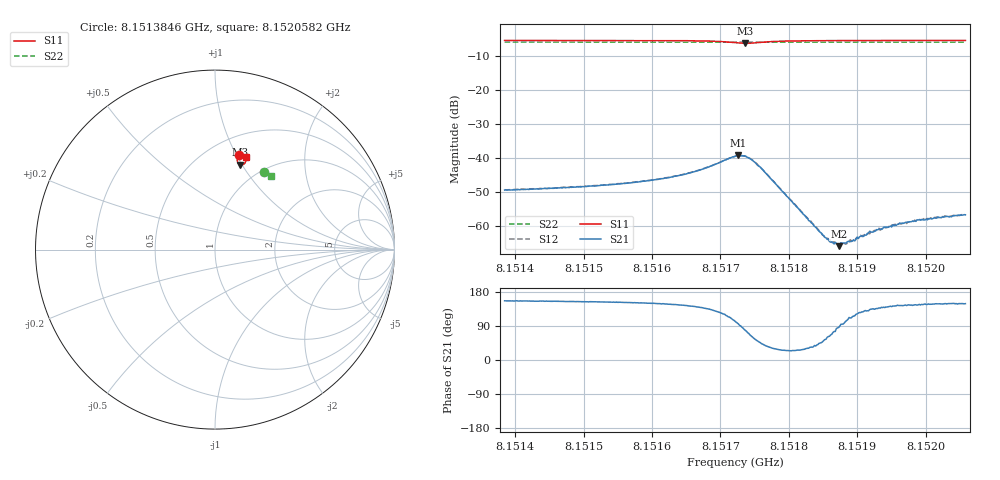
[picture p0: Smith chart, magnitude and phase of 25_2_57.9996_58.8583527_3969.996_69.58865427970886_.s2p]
#  HZ  S  RI  R  50.00
! Rohde & Schwarz Vector Network Analyzer
! Rohde-Schwarz,ZNB20-2Port,1311601062101988,3.16
! Created: UTC 3/21/2024, 12:51:21 AM
! freq[Hz]  re:S11  im:S11  re:S21  im:S21  re:S12  im:S12  re:S22  im:S22
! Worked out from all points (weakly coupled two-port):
!   401 points, 8.1513846 GHz to 8.1520582 GHz, reference 50 ohm
!   highest |S21| = -39.25 dB at 8.1517265 GHz (marker M1); lowest = -66.0 dB at 8.151873 GHz (marker M2)
!   lowest |S11| = -6.1 dB at 8.1517366 GHz (marker M3), VSWR 2.95, Z = 39.4 + j49.3 ohm
!   |S11| at or under -10 dB: nowhere
!   |S22| runs from -5.8 to -5.8 dB; largest |S21 - S12| = 0.00036
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8.15138461e9  0.1341 0.5271  -0.00308 0.00136  -0.00309 0.00143  0.2757 0.434
8.15149744e9  0.1439 0.5244  -0.00338 0.00165  -0.00337 0.00171  0.2819 0.4298
8.15156143e9  0.1504 0.5222  -0.00372 0.002  -0.00374 0.00204  0.2853 0.4273
8.15161027e9  0.1563 0.5192  -0.00417 0.00252  -0.00414 0.0026  0.2878 0.4255
8.15166753e9  0.1659 0.5108  -0.00498 0.00423  -0.00495 0.0043  0.2909 0.4229
8.15172141e9  0.1626 0.4779  -0.00224 0.0103  -0.00212 0.0104  0.2932 0.4198
8.15172647e9  0.1568 0.4743  -0.000963 0.0109  -0.000821 0.0108  0.2929 0.4197
8.15173657e9  0.1418 0.473  0.00218 0.0104  0.00232 0.0104  0.293 0.4195
8.15174667e9  0.1291 0.4812  0.00454 0.00814  0.00468 0.0081  0.2932 0.4196
8.15176015e9  0.124 0.4964  0.00513 0.0048  0.00516 0.00475  0.2939 0.4198
8.15183424e9  0.145 0.5197  0.000905 0.000604  0.000909 0.000596  0.2986 0.4173
8.15185277e9  0.1485 0.5201  0.000396 0.000543  0.000422 0.000519  0.2998 0.4168
8.15186287e9  0.1501 0.5202  0.000219 0.000536  0.000226 0.000519  0.3004 0.4164
8.15187297e9  0.1517 0.5201  3.5e-05 0.000498  5e-05 0.000531  0.3008 0.4161
8.15188476e9  0.1533 0.5201  -0.000142 0.000551  -0.000144 0.000523  0.3016 0.4155
8.15189487e9  0.1547 0.52  -0.00027 0.000557  -0.000251 0.000553  0.302 0.415
8.15190329e9  0.1556 0.52  -0.000396 0.00056  -0.000361 0.000579  0.3025 0.4147
8.15192855e9  0.1586 0.5196  -0.000626 0.000606  -0.000626 0.000633  0.3039 0.4138
8.15194707e9  0.1606 0.5192  -0.000756 0.000608  -0.000766 0.000639  0.3048 0.4131
8.15195381e9  0.1612 0.5191  -0.000789 0.000612  -0.00082 0.00064  0.3052 0.4128
8.15199085e9  0.1648 0.5184  -0.00103 0.000677  -0.00101 0.000699  0.307 0.4113
8.15205821e9  0.1706 0.517  -0.00124 0.000753  -0.00124 0.000751  0.3106 0.4087
